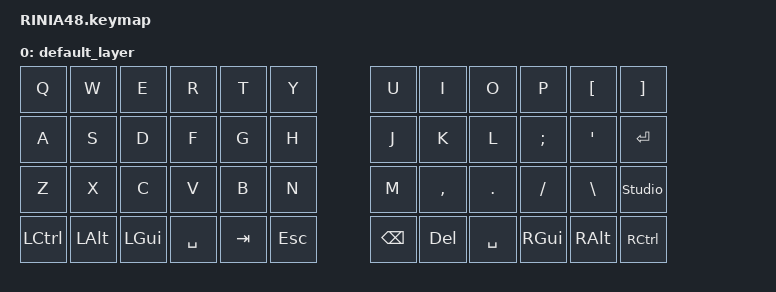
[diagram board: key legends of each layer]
#include <behaviors.dtsi>
#include <dt-bindings/zmk/keys.h>
#include <dt-bindings/zmk/bt.h>

/ {
    keymap {
        compatible = "zmk,keymap";
        default_layer {
            bindings = <
&kp Q &kp W &kp E &kp R &kp T &kp Y          &kp U &kp I &kp O &kp P &kp LBKT &kp RBKT
&kp A &kp S &kp D &kp F &kp G &kp H          &kp J &kp K &kp L &kp SEMI &kp SQT &kp ENTER
&kp Z &kp X &kp C &kp V &kp B &kp N          &kp M &kp COMMA &kp DOT &kp FSLH &kp BSLH &studio_unlock
&kp LCTRL &kp LALT &kp LGUI &kp SPACE &kp TAB &kp ESC    &kp BSPC &kp DEL &kp SPACE &kp RGUI &kp RALT &kp RCTRL
            >;
        };
    };
};
